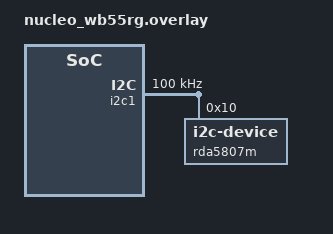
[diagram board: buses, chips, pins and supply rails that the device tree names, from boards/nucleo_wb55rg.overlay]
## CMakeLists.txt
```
cmake_minimum_required(VERSION 3.13.1)
find_package(Zephyr REQUIRED HINTS $ENV{ZEPHYR_BASE})

project(fm_radio LANGUAGES C)

target_include_directories(app PRIVATE include include)
target_sources(app PRIVATE src/main.cpp src/rda5807m.c)
```

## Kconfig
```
# Copyright (c) 2026 Aaron Chan
# SPDX-License-Identifier: Apache-2.0

menu "Zephyr"
source "Kconfig.zephyr"
endmenu

module = APP
module-str = APP
source "subsys/logging/Kconfig.template.log_config"
```

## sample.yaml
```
sample:
  description: FM Radio Receiver
  name: fm-radio
common:
  build_only: true
  integration_platforms:
    - nucleo_wb55rg
```

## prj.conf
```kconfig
# Copyright (c) 2026 Aaron Chan
# SPDX-License-Identifier: Apache-2.0

CONFIG_LOG=y
CONFIG_CBPRINTF_FP_SUPPORT=y
CONFIG_UART_INTERRUPT_DRIVEN=y
CONFIG_CONSOLE=y
CONFIG_PRINTK=y
CONFIG_UART_CONSOLE=y
CONFIG_LOG_BACKEND_UART=y
CONFIG_SERIAL=y

CONFIG_CPP=y
CONFIG_REQUIRES_FULL_LIBCPP=y
CONFIG_STD_CPP23=y
CONFIG_MAIN_STACK_SIZE=2048

CONFIG_BT=y
CONFIG_BT_PERIPHERAL=y
CONFIG_BT_DEVICE_NAME="FM Tuner"
CONFIG_BT_DEVICE_NAME_DYNAMIC=n
CONFIG_BT_MAX_CONN=1
CONFIG_BT_HOST_CRYPTO=y

CONFIG_ENTROPY_GENERATOR=y
CONFIG_TEST_RANDOM_GENERATOR=y

CONFIG_I2C=y
```

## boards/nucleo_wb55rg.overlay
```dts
/ {
    aliases {
        radio0 = &rda5807m;
    };
};

&i2c1 {
    status = "okay";
    clock-frequency = <I2C_BITRATE_STANDARD>;

    rda5807m: rda5807m@10 {
        compatible = "i2c-device";
        reg = <0x10>;
        status = "okay";
    };
};
```

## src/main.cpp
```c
/*
 * Copyright (c) 2026 Aaron Chan
 * SPDX-License-Identifier: Apache-2.0
 */

#include <array>
#include <cstring>
#include <rda5807m.h>
#include <zephyr/bluetooth/bluetooth.h>
#include <zephyr/bluetooth/conn.h>
#include <zephyr/bluetooth/gatt.h>
#include <zephyr/bluetooth/uuid.h>
#include <zephyr/device.h>
#include <zephyr/drivers/i2c.h>
#include <zephyr/kernel.h>
#include <zephyr/logging/log.h>

LOG_MODULE_REGISTER(fm_tuner, LOG_LEVEL_INF);

#define BT_UUID_FM_SERVICE_VAL BT_UUID_128_ENCODE(0x12345678, 0x0000, 0x1000, 0x8000, 0x00805F9B34FB)
#define BT_UUID_FM_FREQ_VAL    BT_UUID_128_ENCODE(0x12345678, 0x0001, 0x1000, 0x8000, 0x00805F9B34FB)
#define BT_UUID_FM_VOL_VAL     BT_UUID_128_ENCODE(0x12345678, 0x0002, 0x1000, 0x8000, 0x00805F9B34FB)
#define BT_UUID_FM_SEEK_VAL    BT_UUID_128_ENCODE(0x12345678, 0x0003, 0x1000, 0x8000, 0x00805F9B34FB)
#define BT_UUID_FM_MUTE_VAL    BT_UUID_128_ENCODE(0x12345678, 0x0004, 0x1000, 0x8000, 0x00805F9B34FB)
#define BT_UUID_FM_STATUS_VAL  BT_UUID_128_ENCODE(0x12345678, 0x0005, 0x1000, 0x8000, 0x00805F9B34FB)

#define RDA5807M_SHADOW_COUNT    6
#define RDA5807M_TUNE_TIMEOUT_MS 1000
#define RDA5807M_TUNE_POLL_MS    10
#define RDA5807M_SEEK_TIMEOUT_MS 5000
#define RDA5807M_RESET_DELAY_MS  150
#define RDA5807M_I2C_ADDR        0x10

#define SHADOW_CONFIG  0
#define SHADOW_CHANNEL 1
#define SHADOW_GPIO    2
#define SHADOW_VOLUME  3
#define SHADOW_OPEN    4
#define SHADOW_BLEND   5

static const struct bt_uuid_128 uuid_fm_service = BT_UUID_INIT_128(BT_UUID_FM_SERVICE_VAL);
static const struct bt_uuid_128 uuid_fm_freq = BT_UUID_INIT_128(BT_UUID_FM_FREQ_VAL);
static const struct bt_uuid_128 uuid_fm_vol = BT_UUID_INIT_128(BT_UUID_FM_VOL_VAL);
static const struct bt_uuid_128 uuid_fm_seek = BT_UUID_INIT_128(BT_UUID_FM_SEEK_VAL);
static const struct bt_uuid_128 uuid_fm_mute = BT_UUID_INIT_128(BT_UUID_FM_MUTE_VAL);
static const struct bt_uuid_128 uuid_fm_status = BT_UUID_INIT_128(BT_UUID_FM_STATUS_VAL);

static const struct i2c_dt_spec radio_i2c = I2C_DT_SPEC_GET(DT_ALIAS(radio0));

struct rda5807m_radio {
    struct i2c_dt_spec i2c;
    uint16_t shadow[RDA5807M_SHADOW_COUNT];
    uint32_t frequency_khz;
    struct k_mutex lock;
};

static struct rda5807m_radio radio = {
    .i2c = radio_i2c,
    .shadow = {},
    .frequency_khz = 101000U,
};

static uint8_t current_vol = 8U;
static bool current_mute = false;
static uint32_t current_freq_khz = 101000U;

static struct bt_conn *active_conn = nullptr;
static bool status_notify_enabled = false;
static const struct bt_gatt_attr *status_attr = nullptr;
static const struct bt_gatt_attr *freq_attr = nullptr;

static struct k_work_q radio_workq;
static K_THREAD_STACK_DEFINE(radio_workq_stack, 2048);
static struct k_work seek_work;
static bool seek_direction = true;

static int rda5807m_seek(struct rda5807m_radio *dev, bool up);
static int rda5807m_get_status(struct rda5807m_radio *dev, struct rda5807m_status *status);

static void seek_work_handler(struct k_work *work) {
    int ret = rda5807m_seek(&radio, seek_direction);
    if (ret == 0) {
        struct rda5807m_status status = {};
        if (rda5807m_get_status(&radio, &status) == 0) {
            current_freq_khz = status.frequency_khz;
        }
    } else if (ret == -EIO) {
        LOG_WRN("Seek: no station found");
    } else {
        LOG_ERR("seek failed: %d", ret);
    }

    if (freq_attr) {
        uint32_t freq_be = __builtin_bswap32(radio.frequency_khz);
        bt_gatt_notify(nullptr, freq_attr, &freq_be, sizeof(freq_be));
    }
}

static int rda5807m_write_regs(struct rda5807m_radio *dev, uint8_t count) {
    if (count > RDA5807M_SHADOW_COUNT) {
        return -EINVAL;
    }

    uint8_t buff[RDA5807M_SHADOW_COUNT * 2] = {0};

    for (int i = 0; i < count; i++) {
        buff[i * 2] = (dev->shadow[i] >> 8) & 0xFF;
        buff[i * 2 + 1] = dev->shadow[i] & 0xFF;
    }

    return i2c_write_dt(&dev->i2c, buff, count * 2);
}

static int rda5807m_read_status_raw(struct rda5807m_radio *dev, uint16_t *status_a, uint16_t *status_b) {
    uint8_t buff[4] = {0};

    int ret = i2c_read_dt(&dev->i2c, buff, sizeof(buff));
    if (ret) {
        LOG_ERR("Status read failed: %d", ret);
        return ret;
    }

    *status_a = ((uint16_t) buff[0] << 8) | buff[1];
    *status_b = ((uint16_t) buff[2] << 8) | buff[3];
    return 0;
}

static int rda5807m_wait_stc(struct rda5807m_radio *dev, uint32_t timeout_ms, uint16_t *status_a_out,
                             uint16_t *status_b_out) {
    uint16_t status_a;
    uint16_t status_b;
    uint32_t elapsed = 0;

    while (elapsed < timeout_ms) {
        k_msleep(RDA5807M_TUNE_POLL_MS);
        elapsed += RDA5807M_TUNE_POLL_MS;

        int ret = rda5807m_read_status_raw(dev, &status_a, &status_b);
        if (ret) {
            return ret;
        }

        if (elapsed <= 50) {
            LOG_INF("Poll %u ms: 0x0A=0x%04X 0x0B=0x%04X STC=%d SF=%d", elapsed, status_a, status_b,
                    (status_a & RDA5807M_ST_STC) != 0, (status_a & RDA5807M_ST_SF) != 0);
        }

        if (status_a & RDA5807M_ST_STC) {
            if (status_a_out) *status_a_out = status_a;
            if (status_b_out) *status_b_out = status_b;
            return 0;
        }
    }

    LOG_WRN("STC timeout after %u ms — last: 0x0A=0x%04X 0x0B=0x%04X", timeout_ms, status_a, status_b);
    return -ETIMEDOUT;
}

static int rda5807m_set_frequency(struct rda5807m_radio *dev, uint32_t freq_khz) {
    int ret = 0;

    if (freq_khz < RDA5807M_FREQ_MIN_KHZ || freq_khz > RDA5807M_FREQ_MAX_KHZ) {
        LOG_ERR("Frequency %u kHz out of range", freq_khz);
        return -EINVAL;
    }

    freq_khz = (freq_khz / RDA5807M_FREQ_STEP_KHZ) * RDA5807M_FREQ_STEP_KHZ;
    uint16_t channel = (freq_khz - RDA5807M_FREQ_BASE_KHZ) / RDA5807M_FREQ_STEP_KHZ;

    k_mutex_lock(&dev->lock, K_FOREVER);

    dev->shadow[SHADOW_CHANNEL] =
        (channel << RDA5807M_CHAN_SHIFT) | RDA5807M_CHAN_TUNE | RDA5807M_CHAN_BAND_87108 | RDA5807M_CHAN_SPACE_100K;

    ret = rda5807m_write_regs(dev, 2);
    if (ret) {
        LOG_ERR("Frequency write failed: %d", ret);
        goto cleanup;
    }

    ret = rda5807m_wait_stc(dev, RDA5807M_TUNE_TIMEOUT_MS, nullptr, nullptr);
    if (ret == -ETIMEDOUT) {
        LOG_WRN("Tune timed out, resetting chip");
        dev->shadow[SHADOW_CONFIG] = RDA5807M_CFG_SOFT_RESET | RDA5807M_CFG_ENABLE | RDA5807M_CFG_NEW_METHOD;
        rda5807m_write_regs(dev, 1);
        k_msleep(50);
        dev->shadow[SHADOW_CONFIG] =
            RDA5807M_CFG_DHIZ | RDA5807M_CFG_DMUTE | RDA5807M_CFG_NEW_METHOD | RDA5807M_CFG_ENABLE;
        dev->shadow[SHADOW_CHANNEL] =
            (channel << RDA5807M_CHAN_SHIFT) | RDA5807M_CHAN_TUNE | RDA5807M_CHAN_BAND_87108 | RDA5807M_CHAN_SPACE_100K;
        rda5807m_write_regs(dev, 4);
        k_msleep(50);
        dev->shadow[SHADOW_CHANNEL] &= ~RDA5807M_CHAN_TUNE;
        rda5807m_write_regs(dev, 2);

        dev->frequency_khz = freq_khz;
        goto cleanup;
    } else if (ret) {
        goto cleanup;
    }

    dev->frequency_khz = freq_khz;
    LOG_INF("Tuned to %u kHz", freq_khz);

cleanup:
    dev->shadow[SHADOW_CHANNEL] &= ~RDA5807M_CHAN_TUNE;
    int write_ret = rda5807m_write_regs(dev, 2);
    if (write_ret) {
        LOG_ERR("TUNE bit clear failed: %d", write_ret);
        ret = write_ret;
    }

    k_mutex_unlock(&dev->lock);
    return ret;
}

static int rda5807m_set_volume(struct rda5807m_radio *dev, uint8_t vol) {
    if (vol > RDA5807M_VOL_MAX) {
        LOG_ERR("Volume %u out of range (max %u)", vol, RDA5807M_VOL_MAX);
        return -EINVAL;
    }

    k_mutex_lock(&dev->lock, K_FOREVER);
    dev->shadow[SHADOW_VOLUME] = (dev->shadow[SHADOW_VOLUME] & ~RDA5807M_VOL_MASK) | vol;
    int ret = rda5807m_write_regs(dev, 4);
    if (ret) {
        LOG_ERR("Volume write failed: %d", ret);
    }
    k_mutex_unlock(&dev->lock);
    return ret;
}

static int rda5807m_set_mute(struct rda5807m_radio *dev, bool mute) {
    k_mutex_lock(&dev->lock, K_FOREVER);

    if (mute) {
        dev->shadow[SHADOW_CONFIG] &= ~RDA5807M_CFG_DMUTE;
    } else {
        dev->shadow[SHADOW_CONFIG] |= RDA5807M_CFG_DMUTE;
    }

    int ret = rda5807m_write_regs(dev, 1);
    if (ret) {
        LOG_ERR("Mute write failed: %d", ret);
    }

    k_mutex_unlock(&dev->lock);
    return ret;
}

static int rda5807m_seek(struct rda5807m_radio *dev, bool up) {
    uint16_t status_a = 0;
    uint16_t status_b = 0;
    int ret = 0;

    k_mutex_lock(&dev->lock, K_FOREVER);

    dev->shadow[SHADOW_CONFIG] |= RDA5807M_CFG_SEEK;
    if (up) {
        dev->shadow[SHADOW_CONFIG] |= RDA5807M_CFG_SEEKUP;
    } else {
        dev->shadow[SHADOW_CONFIG] &= ~RDA5807M_CFG_SEEKUP;
    }

    ret = rda5807m_write_regs(dev, 1);
    if (ret) {
        LOG_ERR("Seek write failed: %d", ret);
        goto cleanup;
    }

    ret = rda5807m_wait_stc(dev, RDA5807M_SEEK_TIMEOUT_MS, &status_a, &status_b);
    if (ret == -ETIMEDOUT) {
        LOG_WRN("Seek timed out, resetting chip");
        dev->shadow[SHADOW_CONFIG] = RDA5807M_CFG_SOFT_RESET | RDA5807M_CFG_ENABLE | RDA5807M_CFG_NEW_METHOD;
        rda5807m_write_regs(dev, 1);
        k_msleep(50);
        dev->shadow[SHADOW_CONFIG] =
            RDA5807M_CFG_DHIZ | RDA5807M_CFG_DMUTE | RDA5807M_CFG_NEW_METHOD | RDA5807M_CFG_ENABLE;
        rda5807m_write_regs(dev, 4);

        uint16_t ch = (dev->frequency_khz - RDA5807M_FREQ_BASE_KHZ) / RDA5807M_FREQ_STEP_KHZ;
        dev->shadow[SHADOW_CHANNEL] =
            (ch << RDA5807M_CHAN_SHIFT) | RDA5807M_CHAN_TUNE | RDA5807M_CHAN_BAND_87108 | RDA5807M_CHAN_SPACE_100K;
        rda5807m_write_regs(dev, 2);
        k_msleep(50);
        dev->shadow[SHADOW_CHANNEL] &= ~RDA5807M_CHAN_TUNE;
        rda5807m_write_regs(dev, 2);

        goto cleanup;
    } else if (ret) {
        goto cleanup;
    }

    if (status_a & RDA5807M_ST_SF) {
        LOG_WRN("Seek failed - no station found");
        ret = -EIO;
    } else {
        uint16_t channel = (status_a & RDA5807M_ST_READCHAN_MASK) >> RDA5807M_ST_READCHAN_SHIFT;
        dev->frequency_khz = ((uint32_t) channel * RDA5807M_FREQ_STEP_KHZ) + RDA5807M_FREQ_BASE_KHZ;
        LOG_INF("Seek landed at %u kHz", dev->frequency_khz);
    }

cleanup:
    dev->shadow[SHADOW_CONFIG] &= ~RDA5807M_CFG_SEEK;
    int write_ret = rda5807m_write_regs(dev, 1);
    if (write_ret) {
        LOG_ERR("SEEK bit clear failed: %d", write_ret);
        ret = write_ret;
    }

    k_mutex_unlock(&dev->lock);
    return ret;
}

static int rda5807m_get_status(struct rda5807m_radio *dev, struct rda5807m_status *status) {
    uint16_t sa, sb;

    if (!status) {
        return -EINVAL;
    }

    int ret = rda5807m_read_status_raw(dev, &sa, &sb);
    if (ret) {
        return ret;
    }

    status->frequency_khz = dev->frequency_khz;
    status->rssi = (sb & RDA5807M_ST_RSSI_MASK) >> RDA5807M_ST_RSSI_SHIFT;
    status->stereo = (sa & RDA5807M_ST_STEREO) != 0;
    status->station = (sb & RDA5807M_ST_FM_TRUE) != 0;
    status->seek_fail = (sa & RDA5807M_ST_SF) != 0;

    return 0;
}

static int rda5807m_init(struct rda5807m_radio *dev) {
    int ret = 0;

    k_mutex_init(&dev->lock);

    if (!i2c_is_ready_dt(&dev->i2c)) {
        LOG_ERR("I2C bus not ready");
        return -ENODEV;
    }

    dev->shadow[SHADOW_CONFIG] = RDA5807M_CFG_SOFT_RESET | RDA5807M_CFG_ENABLE | RDA5807M_CFG_NEW_METHOD;
    ret = rda5807m_write_regs(dev, 1);
    if (ret) {
        LOG_ERR("Reset write failed: %d", ret);
        return ret;
    }
    k_msleep(RDA5807M_RESET_DELAY_MS);

    dev->shadow[SHADOW_CONFIG] = RDA5807M_CFG_DHIZ | RDA5807M_CFG_DMUTE | RDA5807M_CFG_NEW_METHOD | RDA5807M_CFG_ENABLE;
    dev->shadow[SHADOW_CHANNEL] = RDA5807M_CHAN_BAND_87108 | RDA5807M_CHAN_SPACE_100K;
    dev->shadow[SHADOW_VOLUME] = (RDA5807M_SEEKTH_DEFAULT << RDA5807M_SEEKTH_SHIFT) | 8U;

    ret = rda5807m_write_regs(dev, 4);
    if (ret) {
        LOG_ERR("Init write failed: %d", ret);
        return ret;
    }

    dev->frequency_khz = RDA5807M_FREQ_MIN_KHZ;
    LOG_INF("RDA5807M initialized");
    return 0;
}

static ssize_t read_freq(struct bt_conn *, const struct bt_gatt_attr *attr, void *buf, uint16_t len, uint16_t offset) {
    uint32_t freq_be = __builtin_bswap32(radio.frequency_khz);
    return bt_gatt_attr_read(nullptr, attr, buf, len, offset, &freq_be, sizeof(freq_be));
}

static ssize_t write_freq(struct bt_conn *, const struct bt_gatt_attr *, const void *buf, uint16_t len, uint16_t,
                          uint8_t) {
    if (len != sizeof(uint32_t)) {
        return BT_GATT_ERR(BT_ATT_ERR_INVALID_ATTRIBUTE_LEN);
    }

    uint32_t freq_be;
    memcpy(&freq_be, buf, sizeof(freq_be));
    uint32_t freq_khz = __builtin_bswap32(freq_be);

    if (int ret = rda5807m_set_frequency(&radio, freq_khz); ret) {
        LOG_ERR("set_frequency(%u) failed: %d", freq_khz, ret);
        return BT_GATT_ERR(BT_ATT_ERR_UNLIKELY);
    }

    current_freq_khz = freq_khz;
    LOG_INF("Tuned to %u kHz", freq_khz);
    return len;
}

static ssize_t read_vol(struct bt_conn *, const struct bt_gatt_attr *attr, void *buf, uint16_t len, uint16_t offset) {
    return bt_gatt_attr_read(nullptr, attr, buf, len, offset, &current_vol, sizeof(current_vol));
}

static ssize_t write_vol(struct bt_conn *, const struct bt_gatt_attr *, const void *buf, uint16_t len, uint16_t,
                         uint8_t) {
    if (len != sizeof(uint8_t)) {
        return BT_GATT_ERR(BT_ATT_ERR_INVALID_ATTRIBUTE_LEN);
    }

    const uint8_t *bytes = static_cast<const uint8_t *>(buf);
    uint8_t vol = bytes[0];
    if (int ret = rda5807m_set_volume(&radio, vol); ret) {
        LOG_ERR("set_volume(%u) failed: %d", vol, ret);
        return BT_GATT_ERR(BT_ATT_ERR_UNLIKELY);
    }

    current_vol = vol;
    return len;
}

static ssize_t write_seek(struct bt_conn *, const struct bt_gatt_attr *, const void *buf, uint16_t len, uint16_t,
                          uint8_t) {
    if (len != sizeof(uint8_t)) {
        return BT_GATT_ERR(BT_ATT_ERR_INVALID_ATTRIBUTE_LEN);
    }

    const uint8_t *bytes = static_cast<const uint8_t *>(buf);
    uint8_t dir = bytes[0];
    if (dir != 0x01 && dir != 0x02) {
        return BT_GATT_ERR(BT_ATT_ERR_VALUE_NOT_ALLOWED);
    }

    seek_direction = (dir == 0x01);
    k_work_submit_to_queue(&radio_workq, &seek_work);
    return len;
}

static ssize_t read_mute(struct bt_conn *, const struct bt_gatt_attr *attr, void *buf, uint16_t len, uint16_t offset) {
    uint8_t mute_byte = current_mute ? 1U : 0U;
    return bt_gatt_attr_read(nullptr, attr, buf, len, offset, &mute_byte, sizeof(mute_byte));
}

static ssize_t write_mute(struct bt_conn *, const struct bt_gatt_attr *, const void *buf, uint16_t len, uint16_t,
                          uint8_t) {
    if (len != sizeof(uint8_t)) {
        return BT_GATT_ERR(BT_ATT_ERR_INVALID_ATTRIBUTE_LEN);
    }

    const uint8_t *bytes = static_cast<const uint8_t *>(buf);
    uint8_t val = bytes[0];
    bool new_mute = (val == 0xFF) ? !current_mute : (val != 0);

    if (int ret = rda5807m_set_mute(&radio, new_mute); ret) {
        LOG_ERR("set_mute(%d) failed: %d", new_mute, ret);
        return BT_GATT_ERR(BT_ATT_ERR_UNLIKELY);
    }

    current_mute = new_mute;
    LOG_INF("Mute: %s", current_mute ? "on" : "off");
    return len;
}

static void status_ccc_changed(const struct bt_gatt_attr *, uint16_t value) {
    status_notify_enabled = (value == BT_GATT_CCC_NOTIFY);
    LOG_INF("Status notifications %s", status_notify_enabled ? "enabled" : "disabled");
}

BT_GATT_SERVICE_DEFINE(
    fm_radio_svc, BT_GATT_PRIMARY_SERVICE(&uuid_fm_service),
    BT_GATT_CHARACTERISTIC(&uuid_fm_freq.uuid, BT_GATT_CHRC_READ | BT_GATT_CHRC_WRITE | BT_GATT_CHRC_NOTIFY,
                           BT_GATT_PERM_READ | BT_GATT_PERM_WRITE, read_freq, write_freq, nullptr),
    BT_GATT_CCC(nullptr, BT_GATT_PERM_READ | BT_GATT_PERM_WRITE),
    BT_GATT_CHARACTERISTIC(&uuid_fm_vol.uuid, BT_GATT_CHRC_READ | BT_GATT_CHRC_WRITE,
                           BT_GATT_PERM_READ | BT_GATT_PERM_WRITE, read_vol, write_vol, nullptr),
    BT_GATT_CHARACTERISTIC(&uuid_fm_seek.uuid, BT_GATT_CHRC_WRITE, BT_GATT_PERM_WRITE, nullptr, write_seek, nullptr),
    BT_GATT_CHARACTERISTIC(&uuid_fm_mute.uuid, BT_GATT_CHRC_READ | BT_GATT_CHRC_WRITE,
                           BT_GATT_PERM_READ | BT_GATT_PERM_WRITE, read_mute, write_mute, nullptr),
    BT_GATT_CHARACTERISTIC(&uuid_fm_status.uuid, BT_GATT_CHRC_NOTIFY, BT_GATT_PERM_NONE, nullptr, nullptr, nullptr),
    BT_GATT_CCC(status_ccc_changed, BT_GATT_PERM_READ | BT_GATT_PERM_WRITE));

static const std::array<bt_data, 2> ad = {{
    BT_DATA_BYTES(BT_DATA_FLAGS, BT_LE_AD_GENERAL | BT_LE_AD_NO_BREDR),
    BT_DATA_BYTES(BT_DATA_UUID128_ALL, BT_UUID_FM_SERVICE_VAL),
}};

static const std::array<bt_data, 1> sd = {{
    BT_DATA(BT_DATA_NAME_COMPLETE, CONFIG_BT_DEVICE_NAME, sizeof(CONFIG_BT_DEVICE_NAME) - 1),
}};

static int start_advertising() {
    int ret = bt_le_adv_start(BT_LE_ADV_CONN_FAST_2, ad.data(), ad.size(), sd.data(), sd.size());
    if (ret) {
        LOG_ERR("Advertising start failed: %d", ret);
    }
    return ret;
}

static void on_connected(struct bt_conn *conn, uint8_t err) {
    if (err) {
        LOG_ERR("Connection failed: 0x%02x", err);
        return;
    }
    active_conn = bt_conn_ref(conn);
    LOG_INF("BLE connected");
}

static void on_disconnected(struct bt_conn *, uint8_t reason) {
    LOG_INF("BLE disconnected, reason 0x%02x", reason);
    if (active_conn) {
        bt_conn_unref(active_conn);
        active_conn = nullptr;
    }
    status_notify_enabled = false;
    start_advertising();
}

BT_CONN_CB_DEFINE(conn_callbacks) = {
    .connected = on_connected,
    .disconnected = on_disconnected,
};

constexpr int STATUS_NOTIFY_STACK = 1024;
constexpr int STATUS_NOTIFY_PRIO = K_PRIO_PREEMPT(7);
constexpr k_timeout_t STATUS_NOTIFY_PERIOD = K_MSEC(2000);

static void status_notify_thread_fn(void *, void *, void *) {
    while (true) {
        k_sleep(STATUS_NOTIFY_PERIOD);

        if (!active_conn || !status_notify_enabled || !status_attr) {
            continue;
        }

        struct rda5807m_status status = {};
        if (rda5807m_get_status(&radio, &status) != 0) {
            continue;
        }

        struct __packed {
            uint8_t rssi;
            uint8_t stereo;
        } payload = {
            .rssi = status.rssi,
            .stereo = static_cast<uint8_t>(status.stereo ? 1U : 0U),
        };

        int ret = bt_gatt_notify(nullptr, status_attr, &payload, sizeof(payload));
        if (ret && ret != -ENOTCONN) {
            LOG_WRN("Notify failed: %d", ret);
        }
    }
}

K_THREAD_DEFINE(status_notify_tid, STATUS_NOTIFY_STACK, status_notify_thread_fn, nullptr, nullptr, nullptr,
                STATUS_NOTIFY_PRIO, 0, 0);

int main() {
    if (!device_is_ready(radio.i2c.bus)) {
        LOG_ERR("RDA5807M I2C bus not ready");
        return -ENODEV;
    }

    current_freq_khz = radio.frequency_khz;

    int ret = rda5807m_init(&radio);
    if (ret) {
        LOG_ERR("RDA5807M init failed: %d", ret);
        return ret;
    }

    LOG_INF("RDA5807M ready");

    k_work_queue_init(&radio_workq);
    k_work_queue_start(&radio_workq, radio_workq_stack, K_THREAD_STACK_SIZEOF(radio_workq_stack), K_PRIO_PREEMPT(5),
                       nullptr);
    k_work_init(&seek_work, seek_work_handler);

    ret = bt_enable(nullptr);
    if (ret) {
        LOG_ERR("BT enable failed: %d", ret);
        return ret;
    }

    LOG_INF("Bluetooth ready");

    status_attr = bt_gatt_find_by_uuid(fm_radio_svc.attrs, fm_radio_svc.attr_count, &uuid_fm_status.uuid);
    if (!status_attr) {
        LOG_ERR("Status attr not found — check service table");
        return -ENOENT;
    }

    freq_attr = bt_gatt_find_by_uuid(fm_radio_svc.attrs, fm_radio_svc.attr_count, &uuid_fm_freq.uuid);
    if (!freq_attr) {
        LOG_ERR("Freq attr not found — check service table");
        return -ENOENT;
    }

    ret = start_advertising();
    if (ret) {
        return ret;
    }

    LOG_INF("Advertising as \"%s\"", CONFIG_BT_DEVICE_NAME);
    return 0;
}
```

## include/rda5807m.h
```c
/*
 * Copyright (c) 2026 Aaron Chan
 * SPDX-License-Identifier: Apache-2.0
 */

#ifndef __RADIO_RDA5807M_H__
#define __RADIO_RDA5807M_H__

#include <zephyr/device.h>

#ifdef __cplusplus
extern "C" {
#endif

/* Register Addresses */

/* Sequential write mode (I2C addr 0x10) starts at 0x02 */
#define RDA5807M_REG_CONFIG  0x02
#define RDA5807M_REG_CHANNEL 0x03
#define RDA5807M_REG_GPIO    0x04
#define RDA5807M_REG_VOLUME  0x05
#define RDA5807M_REG_OPEN    0x06
#define RDA5807M_REG_BLEND   0x07

/* Sequential read mode (I2C addr 0x10) starts at 0x0A */
#define RDA5807M_REG_STATUS_A 0x0A
#define RDA5807M_REG_STATUS_B 0x0B
#define RDA5807M_REG_STATUS_C 0x0C
#define RDA5807M_REG_STATUS_D 0x0D

/* REG 0x02 — Config */

#define RDA5807M_CFG_ENABLE         BIT(0)
#define RDA5807M_CFG_SOFT_RESET     BIT(1)
#define RDA5807M_CFG_NEW_METHOD     BIT(2)
#define RDA5807M_CFG_RDS_EN         BIT(3)
#define RDA5807M_CFG_CLK_MODE_SHIFT 4
#define RDA5807M_CFG_CLK_MODE_MASK  (0x7 << 4)
#define RDA5807M_CFG_SKMODE         BIT(7)
#define RDA5807M_CFG_SEEK           BIT(8)
#define RDA5807M_CFG_SEEKUP         BIT(9)
#define RDA5807M_CFG_RCLK_DIRECT    BIT(10)
#define RDA5807M_CFG_RCLK_NON_CAL   BIT(11)
#define RDA5807M_CFG_BASS           BIT(12)
#define RDA5807M_CFG_MONO           BIT(13)
#define RDA5807M_CFG_DMUTE          BIT(14)
#define RDA5807M_CFG_DHIZ           BIT(15)

/* REG 0x03 — Channel */
#define RDA5807M_CHAN_SPACE_100K (0x0 << 0)
#define RDA5807M_CHAN_SPACE_200K (0x1 << 0)
#define RDA5807M_CHAN_SPACE_50K  (0x2 << 0)
#define RDA5807M_CHAN_SPACE_25K  (0x3 << 0)
#define RDA5807M_CHAN_BAND_87108 (0x0 << 2)
#define RDA5807M_CHAN_BAND_7691  (0x1 << 2)
#define RDA5807M_CHAN_BAND_76108 (0x2 << 2)
#define RDA5807M_CHAN_TUNE       BIT(4)
#define RDA5807M_CHAN_DIRECT     BIT(5) /* Direct mode */
#define RDA5807M_CHAN_SHIFT      6      /* Channel bits [15:6] */
#define RDA5807M_CHAN_MASK       (0x3FF << RDA5807M_CHAN_SHIFT)

/* REG 0x05 — Volume */

#define RDA5807M_VOL_MASK       0x000F
#define RDA5807M_VOL_MAX        15
#define RDA5807M_SEEKTH_SHIFT   8
#define RDA5807M_SEEKTH_MASK    (0x0F << RDA5807M_SEEKTH_SHIFT)
#define RDA5807M_SEEKTH_DEFAULT 2

/* REG 0x0A — Read Status A */

#define RDA5807M_ST_RDSR           BIT(15) /* RDS ready */
#define RDA5807M_ST_STC            BIT(14) /* Seek/tune complete */
#define RDA5807M_ST_SF             BIT(13) /* Seek fail */
#define RDA5807M_ST_RDSS           BIT(12) /* RDS sync */
#define RDA5807M_ST_BLKE           BIT(11) /* RDS block E */
#define RDA5807M_ST_STEREO         BIT(10) /* Stereo indicator */
#define RDA5807M_ST_READCHAN_SHIFT 0
#define RDA5807M_ST_READCHAN_MASK  0x03FF /* Currently tuned channel */

/* REG 0x0B — Read Status B */
#define RDA5807M_ST_RSSI_SHIFT 9
#define RDA5807M_ST_RSSI_MASK  (0x7F << RDA5807M_ST_RSSI_SHIFT)
#define RDA5807M_ST_FM_TRUE    BIT(8) /* 1=station, 0=noise */
#define RDA5807M_ST_FM_READY   BIT(7)

/* Frequency limits (kHz) */

#define RDA5807M_FREQ_MIN_KHZ  87000U
#define RDA5807M_FREQ_MAX_KHZ  108000U
#define RDA5807M_FREQ_STEP_KHZ 100U
#define RDA5807M_FREQ_BASE_KHZ 87000U /* Band base for channel calc */

struct rda5807m_status {
    uint32_t frequency_khz;
    uint8_t rssi; /* 0–127 */
    bool stereo;
    bool station; /* FM_TRUE bit — tuned to actual station */
    bool seek_fail;
};

/**
 * @brief Tune to a specific frequency.
 *
 * @param dev     RDA5807M device
 * @param freq_khz Frequency in kHz (87000–108000, 100kHz steps)
 * @return 0 on success, -EINVAL for out-of-range, -ETIMEDOUT if STC never asserts
 */
int rda5807m_set_frequency(const struct device *dev, uint32_t freq_khz);

/**
 * @brief Set output volume.
 *
 * @param dev  RDA5807M device
 * @param vol  Volume level 0–15 (0 = minimum, 15 = maximum)
 * @return 0 on success, -EINVAL if out of range
 */
int rda5807m_set_volume(const struct device *dev, uint8_t vol);

/**
 * @brief Mute or unmute audio output.
 *
 * @param dev   RDA5807M device
 * @param mute  true to mute, false to unmute
 * @return 0 on success
 */
int rda5807m_set_mute(const struct device *dev, bool mute);

/**
 * @brief Seek to the next valid station.
 *
 * Blocking — returns when seek completes or fails.
 *
 * @param dev   RDA5807M device
 * @param up    true to seek upward in frequency, false downward
 * @return 0 on success, -EIO on seek failure (no station found)
 */
int rda5807m_seek(const struct device *dev, bool up);

/**
 * @brief Read current tuner status.
 *
 * @param dev     RDA5807M device
 * @param status  Pointer to status struct to populate
 * @return 0 on success
 */
int rda5807m_get_status(const struct device *dev, struct rda5807m_status *status);

#ifdef __cplusplus
}
#endif

#endif /* __RADIO_RDA5807M_H__ */
```

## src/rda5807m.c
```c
/*
 * Copyright (c) 2026 Aaron Chan
 * SPDX-License-Identifier: Apache-2.0
 */

#include "rda5807m.h"

#include <zephyr/drivers/i2c.h>
#include <zephyr/kernel.h>
#include <zephyr/logging/log.h>

LOG_MODULE_REGISTER(RDA5807M);

#define RDA5807M_SHADOW_COUNT    6 /* Regs 0x02–0x07 */
#define RDA5807M_TUNE_TIMEOUT_MS 200
#define RDA5807M_TUNE_POLL_MS    10
#define RDA5807M_SEEK_TIMEOUT_MS 5000
#define RDA5807M_RESET_DELAY_MS  50

#define SHADOW_CONFIG  0
#define SHADOW_CHANNEL 1
#define SHADOW_GPIO    2
#define SHADOW_VOLUME  3
#define SHADOW_OPEN    4
#define SHADOW_BLEND   5

struct rda5807m_config {
    struct i2c_dt_spec i2c;
    uint8_t vol_default;
    uint8_t band; /* 0=87-108, 1=76-91, 2=76-108 */
};

struct rda5807m_data {
    uint16_t shadow[RDA5807M_SHADOW_COUNT]; /* Big-endian shadow of regs 0x02–0x07 */
    uint32_t frequency_khz;
    struct k_mutex lock;
};

static int rda5807m_write_regs(const struct device *dev, uint8_t count) {
    const struct rda5807m_config *cfg = dev->config;
    struct rda5807m_data *data = dev->data;
    uint8_t buff[RDA5807M_SHADOW_COUNT * 2] = {0};

    if (count > RDA5807M_SHADOW_COUNT) {
        return -EINVAL;
    }

    for (int i = 0; i < count; i++) {
        buff[i * 2] = (data->shadow[i] >> 8) & 0xFF;
        buff[i * 2 + 1] = data->shadow[i] & 0xFF;
    }

    return i2c_write_dt(&cfg->i2c, buff, count * 2);
}

static int rda5807m_read_status_raw(const struct device *dev, uint16_t *status_a, uint16_t *status_b) {
    const struct rda5807m_config *cfg = dev->config;
    uint8_t buff[4] = {0};

    int ret = i2c_read_dt(&cfg->i2c, buff, sizeof(buff));
    if (ret) {
        LOG_ERR("Status read failed: %d", ret);
        return ret;
    }

    *status_a = ((uint16_t) buff[0] << 8) | buff[1];
    *status_b = ((uint16_t) buff[2] << 8) | buff[3];
    return 0;
}

static int rda5807m_wait_stc(const struct device *dev, uint32_t timeout_ms, uint16_t *status_a_out,
                             uint16_t *status_b_out) {
    uint16_t status_a;
    uint16_t status_b;
    uint32_t elapsed = 0;

    while (elapsed < timeout_ms) {
        k_msleep(RDA5807M_TUNE_POLL_MS);
        elapsed += RDA5807M_TUNE_POLL_MS;

        int ret = rda5807m_read_status_raw(dev, &status_a, &status_b);
        if (ret) {
            return ret;
        }

        if (status_a & RDA5807M_ST_STC) {
            if (status_a_out) *status_a_out = status_a;
            if (status_b_out) *status_b_out = status_b;
            return 0;
        }
    }

    LOG_WRN("STC timeout after %u ms", timeout_ms);
    return -ETIMEDOUT;
}

int rda5807m_set_frequency(const struct device *dev, uint32_t freq_khz) {
    struct rda5807m_data *data = dev->data;
    int ret = 0;

    if (freq_khz < RDA5807M_FREQ_MIN_KHZ || freq_khz > RDA5807M_FREQ_MAX_KHZ) {
        LOG_ERR("Frequency %u kHz out of range", freq_khz);
        return -EINVAL;
    }

    /* Align to 100kHz step */
    freq_khz = (freq_khz / RDA5807M_FREQ_STEP_KHZ) * RDA5807M_FREQ_STEP_KHZ;

    uint16_t channel = (freq_khz - RDA5807M_FREQ_BASE_KHZ) / RDA5807M_FREQ_STEP_KHZ;

    k_mutex_lock(&data->lock, K_FOREVER);

    data->shadow[SHADOW_CHANNEL] =
        (channel << RDA5807M_CHAN_SHIFT) | RDA5807M_CHAN_TUNE | RDA5807M_CHAN_BAND_87108 | RDA5807M_CHAN_SPACE_100K;

    ret = rda5807m_write_regs(dev, 2);
    if (ret) {
        LOG_ERR("Frequency write failed: %d", ret);
        goto out;
    }

    ret = rda5807m_wait_stc(dev, RDA5807M_TUNE_TIMEOUT_MS, NULL, NULL);
    if (ret) {
        goto out;
    }

    /* Clear TUNE bit */
    data->shadow[SHADOW_CHANNEL] &= ~RDA5807M_CHAN_TUNE;
    ret = rda5807m_write_regs(dev, 2);
    if (ret) {
        goto out;
    }

    data->frequency_khz = freq_khz;
    LOG_INF("Tuned to %u kHz", freq_khz);

out:
    k_mutex_unlock(&data->lock);
    return ret;
}

int rda5807m_set_volume(const struct device *dev, uint8_t vol) {
    struct rda5807m_data *data = dev->data;

    if (vol > RDA5807M_VOL_MAX) {
        LOG_ERR("Volume %u out of range (max %u)", vol, RDA5807M_VOL_MAX);
        return -EINVAL;
    }

    k_mutex_lock(&data->lock, K_FOREVER);

    data->shadow[SHADOW_VOLUME] = (data->shadow[SHADOW_VOLUME] & ~RDA5807M_VOL_MASK) | vol;

    int ret = rda5807m_write_regs(dev, 4); /* Must write from 0x02 through 0x05 */
    if (ret) {
        LOG_ERR("Volume write failed: %d", ret);
    }

    k_mutex_unlock(&data->lock);
    return ret;
}

int rda5807m_set_mute(const struct device *dev, bool mute) {
    struct rda5807m_data *data = dev->data;

    k_mutex_lock(&data->lock, K_FOREVER);

    if (mute) {
        data->shadow[SHADOW_CONFIG] &= ~RDA5807M_CFG_DMUTE;
    } else {
        data->shadow[SHADOW_CONFIG] |= RDA5807M_CFG_DMUTE;
    }

    int ret = rda5807m_write_regs(dev, 1);
    if (ret) {
        LOG_ERR("Mute write failed: %d", ret);
    }

    k_mutex_unlock(&data->lock);
    return ret;
}

int rda5807m_seek(const struct device *dev, bool up) {
    struct rda5807m_data *data = dev->data;
    uint16_t status_a;
    uint16_t status_b;
    int ret = 0;

    k_mutex_lock(&data->lock, K_FOREVER);

    data->shadow[SHADOW_CONFIG] |= RDA5807M_CFG_SEEK;

    if (up) {
        data->shadow[SHADOW_CONFIG] |= RDA5807M_CFG_SEEKUP;
    } else {
        data->shadow[SHADOW_CONFIG] &= ~RDA5807M_CFG_SEEKUP;
    }

    ret = rda5807m_write_regs(dev, 1);
    if (ret) {
        LOG_ERR("Seek write failed: %d", ret);
        goto out;
    }

    ret = rda5807m_wait_stc(dev, RDA5807M_SEEK_TIMEOUT_MS, &status_a, &status_b);
    if (ret) {
        goto out;
    }

    if (status_a & RDA5807M_ST_SF) {
        LOG_WRN("Seek failed — no station found");
        ret = -EIO;
        goto out;
    }

    /* Recover tuned channel from status register */
    uint16_t channel = (status_a & RDA5807M_ST_READCHAN_MASK) >> RDA5807M_ST_READCHAN_SHIFT;
    data->frequency_khz = (channel * RDA5807M_FREQ_STEP_KHZ) + RDA5807M_FREQ_BASE_KHZ;
    LOG_INF("Seek landed at %u kHz", data->frequency_khz);

    /* Clear SEEK */
    data->shadow[SHADOW_CONFIG] &= ~RDA5807M_CFG_SEEK;
    ret = rda5807m_write_regs(dev, 1);

out:
    k_mutex_unlock(&data->lock);
    return ret;
}

int rda5807m_get_status(const struct device *dev, struct rda5807m_status *status) {
    struct rda5807m_data *data = dev->data;
    uint16_t sa, sb;

    if (!status) {
        return -EINVAL;
    }

    int ret = rda5807m_read_status_raw(dev, &sa, &sb);
    if (ret) {
        return ret;
    }

    status->frequency_khz = data->frequency_khz;
    status->rssi = (sb & RDA5807M_ST_RSSI_MASK) >> RDA5807M_ST_RSSI_SHIFT;
    status->stereo = (sa & RDA5807M_ST_STEREO) != 0;
    status->station = (sb & RDA5807M_ST_FM_TRUE) != 0;
    status->seek_fail = (sa & RDA5807M_ST_SF) != 0;

    return 0;
}

static int rda5807m_init(const struct device *dev) {
    const struct rda5807m_config *cfg = dev->config;
    struct rda5807m_data *data = dev->data;
    int ret = 0;

    k_mutex_init(&data->lock);

    if (!i2c_is_ready_dt(&cfg->i2c)) {
        LOG_ERR("I2C bus not ready");
        return -ENODEV;
    }

    data->shadow[SHADOW_CONFIG] = RDA5807M_CFG_SOFT_RESET | RDA5807M_CFG_ENABLE | RDA5807M_CFG_NEW_METHOD;
    ret = rda5807m_write_regs(dev, 1);
    if (ret) {
        LOG_ERR("Reset write failed: %d", ret);
        return ret;
    }
    k_msleep(RDA5807M_RESET_DELAY_MS);

    data->shadow[SHADOW_CONFIG] =
        RDA5807M_CFG_DHIZ | RDA5807M_CFG_DMUTE | RDA5807M_CFG_NEW_METHOD | RDA5807M_CFG_ENABLE;

    data->shadow[SHADOW_CHANNEL] = RDA5807M_CHAN_BAND_87108 | RDA5807M_CHAN_SPACE_100K;

    data->shadow[SHADOW_VOLUME] = (RDA5807M_SEEKTH_DEFAULT << RDA5807M_SEEKTH_SHIFT) | cfg->vol_default;

    ret = rda5807m_write_regs(dev, 4);
    if (ret) {
        LOG_ERR("Init write failed: %d", ret);
        return ret;
    }

    data->frequency_khz = RDA5807M_FREQ_MIN_KHZ;

    LOG_INF("RDA5807M initialized, vol=%u", cfg->vol_default);
    return 0;
}
```
